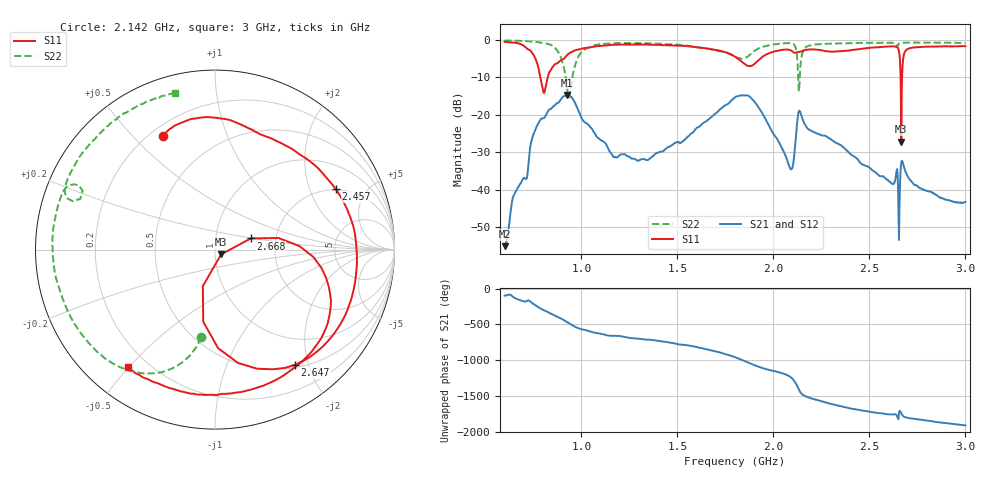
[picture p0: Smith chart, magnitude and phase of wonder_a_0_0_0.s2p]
#  HZ  S  RI  R  50.00
! Rohde & Schwarz ZVB8 2Ports - Version 2.81 - 1145.1010k08 SN: 100113
! Date: 2016-05-12 03:15:58
! Measurements: S11 S21 S12 S22
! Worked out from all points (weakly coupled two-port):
!   1000 points, 600 MHz to 3 GHz, reference 50 ohm
!   highest |S21| = -14.75 dB at 924.3 MHz (marker M1); lowest = -55.1 dB at 600 MHz (marker M2)
!   lowest |S11| = -27.2 dB at 2.666 GHz (marker M3), VSWR 1.09, Z = 53.5 - j2.85 ohm
!   |S11| at or under -10 dB: 785.8 MHz to 824.9 MHz (39.12 MHz wide, 4.86 % of centre); 2.662206 GHz to 2.670295 GHz (8.089 MHz wide, 0.303 % of centre)
!   |S22| runs from -15.4 to -0.2 dB; largest |S21 - S12| = 0.00083
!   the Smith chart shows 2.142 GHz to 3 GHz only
!   S11 on the Smith chart (normalised r, x): 2.142 GHz: 0.25, +0.61; 2.457 GHz: 1.96, +3.05; 2.647 GHz: 0.54, -1.78; 2.668 GHz: 1.48, +0.19; 3 GHz: 0.13, -0.50
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6e8  -0.8532 0.3826  -0.000247 -0.00174  -0.000332 -0.00168  -0.9559 0.1864
6.936937e8  -0.3734 0.7583  -0.0134 -0.00205  -0.0134 -0.00211  -0.7664 0.5761
7.657658e8  0.1105 0.5003  -0.0339 0.0593  -0.0337 0.0588  -0.4678 0.7982
8.258258e8  -0.2057 0.2499  0.093 0.0605  0.093 0.0605  -0.0905 0.8711
9.243243e8  -0.1686 0.5921  -0.0451 -0.1774  -0.0449 -0.1773  0.2283 -0.0644
1.001201e9  0.1863 0.7337  -0.0791 0.0407  -0.0792 0.0406  -0.5342 0.4328
1.195796e9  0.8522 0.0707  0.0139 0.0245  0.0139 0.0245  0.4319 0.7882
1.4e9  0.3555 -0.7723  0.0307 -0.00481  0.0307 -0.00473  0.8816 0.0658
1.623423e9  -0.5528 -0.5485  -0.0236 -0.0693  -0.0236 -0.0693  0.4777 -0.617
1.801201e9  -0.5866 0.07  -0.0925 0.1445  -0.0927 0.1447  0.0633 -0.5813
1.909309e9  -0.4943 0.0294  0.1398 0.00932  0.14 0.00901  0.0943 -0.7223
2.089489e9  -0.3916 0.6045  -0.017 -0.00806  -0.017 -0.00808  -0.6176 -0.6503
2.123123e9  -0.3195 0.5969  0.00356 0.0751  0.00352 0.0751  -0.5841 -0.1012
2.142342e9  -0.2878 0.6308  0.1013 -0.0238  0.101 -0.0239  -0.0759 -0.4884
2.2e9  -0.0866 0.7346  -0.00442 -0.0601  -0.00436 -0.0602  -0.5535 -0.6429
2.457057e9  0.6721 0.3374  -0.00407 0.0218  -0.00401 0.0218  -0.8999 -0.0736
2.601201e9  0.7413 -0.3271  0.00923 0.00913  0.00917 0.0091  -0.868 0.2656
2.646847e9  0.4452 -0.6423  0.0163 -0.000601  0.0162 -0.000469  -0.7508 0.2826
2.666066e9  0.0344 -0.0266  0.0118 0.0196  0.0116 0.0197  -0.8316 0.3629
2.668468e9  0.1997 0.0624  0.0167 0.0173  0.0165 0.0175  -0.8292 0.3705
2.6997e9  0.6278 -0.4113  0.0149 -0.00102  0.0149 -0.000877  -0.7917 0.4525
3e9  -0.486 -0.6562  -0.00232 -0.00643  -0.00228 -0.00641  -0.2235 0.8734
